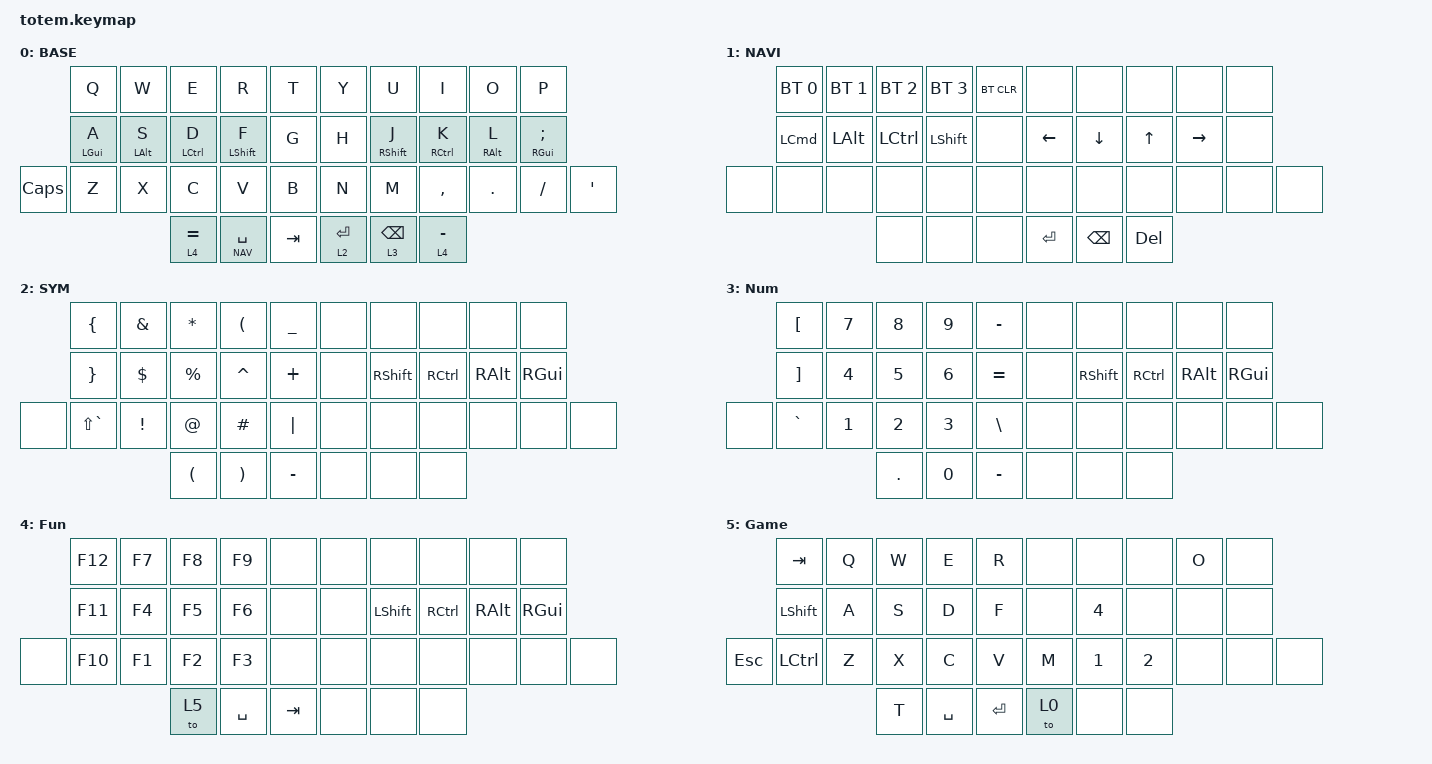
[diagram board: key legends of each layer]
//
//                                                        ▀▀▀▀▀     ▀▀▀▀▀          ▀▀█▀▀
//                                                        ▄▀▀▀▄  ▄  ▄▀▀▀▄  ▄  ▄▀▀▀▄  █  ▄▀▀▀▄
//                                                        █   █  █  █   █  █  █   █  █  █   █
//                                                         ▀▀▀   █   ▀▀▀   █   ▀▀▀   ▀   ▀▀▀
//                                                               █      ▄▄▄█▄▄▄    █   █  
//                                                               ▀      █  █  █     █▄█
//                                                             ▀▀▀▀▀    █  █  █      ▀
//                                                                      ▀  ▀  ▀
//
// ▄▄▄▄▄▄▄▄▄▄▄▄▄▄▄▄▄▄▄▄▄▄▄▄▄▄▄▄▄▄▄▄▄▄▄▄▄▄▄▄▄▄▄▄▄▄▄▄▄▄▄▄▄▄▄▄▄▄▄▄▄▄▄▄▄▄▄▄▄▄▄▄▄▄▄▄▄▄▄▄▄▄▄▄▄▄▄▄▄▄▄▄▄▄▄▄▄▄▄▄▄▄▄▄▄▄▄▄▄▄▄▄▄▄▄▄▄▄▄▄▄▄▄▄▄▄▄▄▄▄▄▄▄▄▄▄▄▄▄▄▄▄▄▄▄▄▄▄▄

#include <behaviors.dtsi>
#include <dt-bindings/zmk/bt.h>
#include <dt-bindings/zmk/keys.h>

#define BASE 0
#define NAV  1
#define SYM  2
#define ADJ  3
#define TVP1 4
#define TVP2 5

&mt {
    quick-tap-ms = <100>;
    global-quick-tap;
    flavor = "tap-preferred";
    tapping-term-ms = <170>;
};

/ {
    combos {
        compatible = "zmk,combos";

        combo_esc {
            timeout-ms = <50>;
            key-positions = <0 1>;
            bindings = <&kp ESC>;
        };

        combo_tvp {
            timeout-ms = <100>;
            key-positions = <11 12 13>;
            bindings = <&tog TVP1>;
        };
    };

    macros {
        gif: gif {
            label = "giphy";
            compatible = "zmk,behavior-macro";
            #binding-cells = <0>;
            bindings =
                <&macro_press>,
                <&kp LSHFT>,
                <&macro_tap>,
                <&kp N2>,
                <&macro_release>,
                <&kp LSHFT>,
                <&macro_tap>,
                <&kp G &kp I &kp F>;
        };
    };

    keymap {
        compatible = "zmk,keymap";

        // ▄▄▄▄▄▄▄▄▄▄▄▄▄▄▄▄▄▄▄▄▄▄▄▄▄▄▄▄▄▄▄▄▄▄▄▄▄▄▄▄▄▄▄▄▄▄▄▄▄▄▄▄▄▄▄▄▄▄▄▄▄▄▄▄▄▄▄▄▄▄▄▄▄▄▄▄▄▄▄▄▄▄▄▄▄▄▄▄▄▄▄▄▄▄▄▄▄▄▄▄▄▄▄▄▄▄▄▄▄▄▄▄▄▄▄▄▄▄▄▄▄▄▄▄▄▄▄▄▄▄▄▄▄▄▄▄▄▄▄▄▄▄▄▄▄▄▄▄▄

        base_layer {
            // ┏━━━━━━━━━━━━━━━━━━━━━━━━━━━━━━━━━━━━━━━┓

            label = "BASE";

            // ┗━━━━━━━━━━━━━━━━━━━━━━━━━━━━━━━━━━━━━━━┛
            //             ┏━━━━━━━━━━━┳━━━━━━━━━━━┳━━━━━━━━━━━┳━━━━━━━━━━━┳━━━━━━━━━━━┓   ┏━━━━━━━━━━━┳━━━━━━━━━━━┳━━━━━━━━━━━┳━━━━━━━━━━━┳━━━━━━━━━━━┓
            //             ┃     Q     ┃     W     ┃     F     ┃     P     ┃     G     ┃   ┃     J     ┃     L     ┃     U     ┃     Y     ┃     ;     ┃
            //             ┣━━━━━━━━━━━╋━━━━━━━━━━━╋━━━━━━━━━━━╋━━━━━━━━━━━╋━━━━━━━━━━━┫   ┣━━━━━━━━━━━╋━━━━━━━━━━━╋━━━━━━━━━━━╋━━━━━━━━━━━╋━━━━━━━━━━━┫
            //             ┃     A     ┃     R     ┃     S     ┃     T     ┃     D     ┃   ┃     H     ┃     N     ┃     E     ┃     I     ┃     O     ┃
            // ┏━━━━━━━━━━━╋━━━━━━━━━━━╋━━━━━━━━━━━╋━━━━━━━━━━━╋━━━━━━━━━━━╋━━━━━━━━━━━┫   ┣━━━━━━━━━━━╋━━━━━━━━━━━╋━━━━━━━━━━━╋━━━━━━━━━━━╋━━━━━━━━━━━╋━━━━━━━━━━━┓
            // ┃     Q     ┃     Z     ┃     X     ┃     C     ┃     V     ┃     B     ┃   ┃     K     ┃     M     ┃     ,     ┃     .     ┃     /     ┃     \     ┃
            // ┗━━━━━━━━━━━┻━━━━━━━━━━━┻━━━━━━━━━━━╋━━━━━━━━━━━╋━━━━━━━━━━━╋━━━━━━━━━━━┫   ┣━━━━━━━━━━━╋━━━━━━━━━━━╋━━━━━━━━━━━╋━━━━━━━━━━━┻━━━━━━━━━━━┻━━━━━━━━━━━┛
            //                                     ┃    DEL    ┃    TAB    ┃    SPC    ┃   ┃   ENTER   ┃           ┃   BSPC    ┃
            //                                     ┗━━━━━━━━━━━┻━━━━━━━━━━━┻━━━━━━━━━━━┛   ┗━━━━━━━━━━━┻━━━━━━━━━━━┻━━━━━━━━━━━┛

            bindings = <
          &kp Q       &kp W       &kp E        &kp R          &kp T      &kp Y        &kp U            &kp I        &kp O       &kp P
          &mt LGUI A  &mt LALT S  &mt LCTRL D  &mt LSHFT F    &kp G      &kp H        &mt RSHFT J      &mt RCTRL K  &mt RALT L  &mt RGUI SEMICOLON
&kp CAPS  &kp Z       &kp X       &kp C        &kp V          &kp B      &kp N        &kp M            &kp COMMA    &kp DOT     &kp FSLH            &kp SQT
                                  &lt 4 EQUAL  &lt NAV SPACE  &kp TAB    &lt 2 ENTER  &lt 3 BACKSPACE  &lt 4 MINUS
            >;
        };

        // ▄▄▄▄▄▄▄▄▄▄▄▄▄▄▄▄▄▄▄▄▄▄▄▄▄▄▄▄▄▄▄▄▄▄▄▄▄▄▄▄▄▄▄▄▄▄▄▄▄▄▄▄▄▄▄▄▄▄▄▄▄▄▄▄▄▄▄▄▄▄▄▄▄▄▄▄▄▄▄▄▄▄▄▄▄▄▄▄▄▄▄▄▄▄▄▄▄▄▄▄▄▄▄▄▄▄▄▄▄▄▄▄▄▄▄▄▄▄▄▄▄▄▄▄▄▄▄▄▄▄▄▄▄▄▄▄▄▄▄▄▄▄▄▄▄▄▄▄▄

        nav_layer {
            // ┏━━━━━━━━━━━━━━━━━━━━━━━━━━━━━━━━━━━━━━━┓

            label = "NAVI";

            // ┗━━━━━━━━━━━━━━━━━━━━━━━━━━━━━━━━━━━━━━━┛
            //             ┏━━━━━━━━━━━┳━━━━━━━━━━━┳━━━━━━━━━━━┳━━━━━━━━━━━┳━━━━━━━━━━━┓   ┏━━━━━━━━━━━┳━━━━━━━━━━━┳━━━━━━━━━━━┳━━━━━━━━━━━┳━━━━━━━━━━━┓
            //             ┃           ┃           ┃     UP    ┃           ┃     {     ┃   ┃     }     ┃     7     ┃     8     ┃     9     ┃     +     ┃
            //             ┣━━━━━━━━━━━╋━━━━━━━━━━━╋━━━━━━━━━━━╋━━━━━━━━━━━╋━━━━━━━━━━━┫   ┣━━━━━━━━━━━╋━━━━━━━━━━━╋━━━━━━━━━━━╋━━━━━━━━━━━╋━━━━━━━━━━━┫
            //             ┃   SHIFT   ┃   LEFT    ┃    DOWN   ┃   RIGHT   ┃     [     ┃   ┃     ]     ┃     4     ┃     5     ┃     6     ┃     -     ┃
            // ┏━━━━━━━━━━━╋━━━━━━━━━━━╋━━━━━━━━━━━╋━━━━━━━━━━━╋━━━━━━━━━━━╋━━━━━━━━━━━┫   ┣━━━━━━━━━━━╋━━━━━━━━━━━╋━━━━━━━━━━━╋━━━━━━━━━━━╋━━━━━━━━━━━╋━━━━━━━━━━━┓
            // ┃           ┃           ┃   P UP    ┃  C LOCK   ┃  P DOWN   ┃     (     ┃   ┃     )     ┃     1     ┃     2     ┃     3     ┃     *     ┃           ┃
            // ┗━━━━━━━━━━━┻━━━━━━━━━━━┻━━━━━━━━━━━╋━━━━━━━━━━━╋━━━━━━━━━━━╋━━━━━━━━━━━┫   ┣━━━━━━━━━━━╋━━━━━━━━━━━╋━━━━━━━━━━━╋━━━━━━━━━━━┻━━━━━━━━━━━┻━━━━━━━━━━━┛
            //                                     ┃           ┃    TAB    ┃    SPC    ┃   ┃    DEL    ┃     0     ┃           ┃
            //                                     ┗━━━━━━━━━━━┻━━━━━━━━━━━┻━━━━━━━━━━━┛   ┗━━━━━━━━━━━┻━━━━━━━━━━━┻━━━━━━━━━━━┛

            bindings = <
       &bt BT_SEL 0      &bt BT_SEL 1  &bt BT_SEL 2  &bt BT_SEL 3    &bt BT_CLR    &none           &none          &none         &none      &none
       &kp LEFT_COMMAND  &kp LEFT_ALT  &kp LCTRL     &kp LEFT_SHIFT  &none         &kp LEFT_ARROW  &kp DOWN       &kp UP_ARROW  &kp RIGHT  &none
&none  &none             &none         &none         &none           &none         &none           &none          &none         &none      &none  &none
                                       &none         &none           &none         &kp ENTER       &kp BACKSPACE  &kp DELETE
            >;
        };

        // ▄▄▄▄▄▄▄▄▄▄▄▄▄▄▄▄▄▄▄▄▄▄▄▄▄▄▄▄▄▄▄▄▄▄▄▄▄▄▄▄▄▄▄▄▄▄▄▄▄▄▄▄▄▄▄▄▄▄▄▄▄▄▄▄▄▄▄▄▄▄▄▄▄▄▄▄▄▄▄▄▄▄▄▄▄▄▄▄▄▄▄▄▄▄▄▄▄▄▄▄▄▄▄▄▄▄▄▄▄▄▄▄▄▄▄▄▄▄▄▄▄▄▄▄▄▄▄▄▄▄▄▄▄▄▄▄▄▄▄▄▄▄▄▄▄▄▄▄▄

        sim_layer {
            // ┏━━━━━━━━━━━━━━━━━━━━━━━━━━━━━━━━━━━━━━━┓

            label = "SYM";

            // ┗━━━━━━━━━━━━━━━━━━━━━━━━━━━━━━━━━━━━━━━┛
            //             ┏━━━━━━━━━━━┳━━━━━━━━━━━┳━━━━━━━━━━━┳━━━━━━━━━━━┳━━━━━━━━━━━┓   ┏━━━━━━━━━━━┳━━━━━━━━━━━┳━━━━━━━━━━━┳━━━━━━━━━━━┳━━━━━━━━━━━┓
            //             ┃     !     ┃     @     ┃     #     ┃     $     ┃     %     ┃   ┃     ˆ     ┃     &     ┃     Ü     ┃     '     ┃     "     ┃
            //             ┣━━━━━━━━━━━╋━━━━━━━━━━━╋━━━━━━━━━━━╋━━━━━━━━━━━╋━━━━━━━━━━━┫   ┣━━━━━━━━━━━╋━━━━━━━━━━━╋━━━━━━━━━━━╋━━━━━━━━━━━╋━━━━━━━━━━━┫
            //             ┃     Ä     ┃           ┃    SZ     ┃           ┃           ┃   ┃   MUTE    ┃   YEN     ┃   EURO    ┃  POUND    ┃     Ö     ┃
            // ┏━━━━━━━━━━━╋━━━━━━━━━━━╋━━━━━━━━━━━╋━━━━━━━━━━━╋━━━━━━━━━━━╋━━━━━━━━━━━┫   ┣━━━━━━━━━━━╋━━━━━━━━━━━╋━━━━━━━━━━━╋━━━━━━━━━━━╋━━━━━━━━━━━╋━━━━━━━━━━━┓
            // ┃           ┃  EMAIL1   ┃  EMAIL2   ┃           ┃           ┃           ┃   ┃   VOL-    ┃   VOL+    ┃   LAST    ┃   NEXT    ┃     \     ┃           ┃
            // ┗━━━━━━━━━━━┻━━━━━━━━━━━┻━━━━━━━━━━━╋━━━━━━━━━━━╋━━━━━━━━━━━╋━━━━━━━━━━━┫   ┣━━━━━━━━━━━╋━━━━━━━━━━━╋━━━━━━━━━━━╋━━━━━━━━━━━┻━━━━━━━━━━━┻━━━━━━━━━━━┛
            //                                     ┃           ┃    GIF    ┃    ADJ    ┃   ┃           ┃           ┃           ┃
            //                                     ┗━━━━━━━━━━━┻━━━━━━━━━━━┻━━━━━━━━━━━┛   ┗━━━━━━━━━━━┻━━━━━━━━━━━┻━━━━━━━━━━━┛

            bindings = <
       &kp LEFT_BRACE   &kp AMPERSAND    &kp ASTERISK          &kp LEFT_PARENTHESIS   &kp UNDERSCORE    &none  &none      &none      &none     &none
       &kp RIGHT_BRACE  &kp DOLLAR       &kp PERCENT           &kp CARET              &kp PLUS          &none  &kp RSHFT  &kp RCTRL  &kp RALT  &kp RGUI
&none  &kp LS(GRAVE)    &kp EXCLAMATION  &kp AT_SIGN           &kp HASH               &kp PIPE          &none  &none      &none      &none     &none     &none
                                         &kp LEFT_PARENTHESIS  &kp RIGHT_PARENTHESIS  &kp MINUS         &none  &none      &none
            >;
        };

        // ▄▄▄▄▄▄▄▄▄▄▄▄▄▄▄▄▄▄▄▄▄▄▄▄▄▄▄▄▄▄▄▄▄▄▄▄▄▄▄▄▄▄▄▄▄▄▄▄▄▄▄▄▄▄▄▄▄▄▄▄▄▄▄▄▄▄▄▄▄▄▄▄▄▄▄▄▄▄▄▄▄▄▄▄▄▄▄▄▄▄▄▄▄▄▄▄▄▄▄▄▄▄▄▄▄▄▄▄▄▄▄▄▄▄▄▄▄▄▄▄▄▄▄▄▄▄▄▄▄▄▄▄▄▄▄▄▄▄▄▄▄▄▄▄▄▄▄▄▄

        Num {
            // ┏━━━━━━━━━━━━━━━━━━━━━━━━━━━━━━━━━━━━━━━┓

            label = "Num";

            // ┗━━━━━━━━━━━━━━━━━━━━━━━━━━━━━━━━━━━━━━━┛
            //             ┏━━━━━━━━━━━┳━━━━━━━━━━━┳━━━━━━━━━━━┳━━━━━━━━━━━┳━━━━━━━━━━━┓   ┏━━━━━━━━━━━┳━━━━━━━━━━━┳━━━━━━━━━━━┳━━━━━━━━━━━┳━━━━━━━━━━━┓
            //             ┃   RESET   ┃ BT CLEAR  ┃  OUT TOG  ┃           ┃           ┃   ┃           ┃    F7     ┃    F8     ┃    F9     ┃    F12    ┃
            //             ┣━━━━━━━━━━━╋━━━━━━━━━━━╋━━━━━━━━━━━╋━━━━━━━━━━━╋━━━━━━━━━━━┫   ┣━━━━━━━━━━━╋━━━━━━━━━━━╋━━━━━━━━━━━╋━━━━━━━━━━━╋━━━━━━━━━━━┫
            //             ┃ BOOTLOAD  ┃ BT NEXT   ┃           ┃           ┃           ┃   ┃           ┃    F4     ┃    F5     ┃    F6     ┃    F11    ┃
            // ┏━━━━━━━━━━━╋━━━━━━━━━━━╋━━━━━━━━━━━╋━━━━━━━━━━━╋━━━━━━━━━━━╋━━━━━━━━━━━┫   ┣━━━━━━━━━━━╋━━━━━━━━━━━╋━━━━━━━━━━━╋━━━━━━━━━━━╋━━━━━━━━━━━╋━━━━━━━━━━━┓
            // ┃           ┃           ┃ BT PREV   ┃           ┃           ┃           ┃   ┃           ┃    F1     ┃    F2     ┃    F3     ┃    F10    ┃           ┃
            // ┗━━━━━━━━━━━┻━━━━━━━━━━━┻━━━━━━━━━━━╋━━━━━━━━━━━╋━━━━━━━━━━━╋━━━━━━━━━━━┫   ┣━━━━━━━━━━━╋━━━━━━━━━━━╋━━━━━━━━━━━╋━━━━━━━━━━━┻━━━━━━━━━━━┻━━━━━━━━━━━┛
            //                                     ┃           ┃           ┃           ┃   ┃           ┃           ┃           ┃
            //                                     ┗━━━━━━━━━━━┻━━━━━━━━━━━┻━━━━━━━━━━━┛   ┗━━━━━━━━━━━┻━━━━━━━━━━━┻━━━━━━━━━━━┛

            bindings = <
       &kp LEFT_BRACKET   &kp N7        &kp N8        &kp N9        &kp MINUS        &none  &none      &none      &none     &none
       &kp RIGHT_BRACKET  &kp NUMBER_4  &kp N5        &kp NUMBER_6  &kp EQUAL        &none  &kp RSHFT  &kp RCTRL  &kp RALT  &kp RGUI
&none  &kp GRAVE          &kp NUMBER_1  &kp NUMBER_2  &kp NUMBER_3  &kp BACKSLASH    &none  &none      &none      &none     &none     &none
                                        &kp PERIOD    &kp N0        &kp MINUS        &none  &none      &none
            >;
        };

        // ▄▄▄▄▄▄▄▄▄▄▄▄▄▄▄▄▄▄▄▄▄▄▄▄▄▄▄▄▄▄▄▄▄▄▄▄▄▄▄▄▄▄▄▄▄▄▄▄▄▄▄▄▄▄▄▄▄▄▄▄▄▄▄▄▄▄▄▄▄▄▄▄▄▄▄▄▄▄▄▄▄▄▄▄▄▄▄▄▄▄▄▄▄▄▄▄▄▄▄▄▄▄▄▄▄▄▄▄▄▄▄▄▄▄▄▄▄▄▄▄▄▄▄▄▄▄▄▄▄▄▄▄▄▄▄▄▄▄▄▄▄▄▄▄▄▄▄▄▄

        Function {
            // ┏━━━━━━━━━━━━━━━━━━━━━━━━━━━━━━━━━━━━━━━┓

            label = "Fun";

            // ┗━━━━━━━━━━━━━━━━━━━━━━━━━━━━━━━━━━━━━━━┛
            //             ┏━━━━━━━━━━━┳━━━━━━━━━━━┳━━━━━━━━━━━┳━━━━━━━━━━━┳━━━━━━━━━━━┓   ┏━━━━━━━━━━━┳━━━━━━━━━━━┳━━━━━━━━━━━┳━━━━━━━━━━━┳━━━━━━━━━━━┓
            //             ┃ NEXT FILE ┃ MARK IN   ┃ ROTATE    ┃ MARK OUT  ┃ SHOW SNAP ┃   ┃           ┃           ┃           ┃           ┃           ┃
            //             ┣━━━━━━━━━━━╋━━━━━━━━━━━╋━━━━━━━━━━━╋━━━━━━━━━━━╋━━━━━━━━━━━┫   ┣━━━━━━━━━━━╋━━━━━━━━━━━╋━━━━━━━━━━━╋━━━━━━━━━━━╋━━━━━━━━━━━┫
            //             ┃ TVP II    ┃ LEFT      ┃ PAN       ┃ RIGHT     ┃ PLAY/FLIP ┃   ┃           ┃           ┃           ┃           ┃           ┃
            // ┏━━━━━━━━━━━╋━━━━━━━━━━━╋━━━━━━━━━━━╋━━━━━━━━━━━╋━━━━━━━━━━━╋━━━━━━━━━━━┫   ┣━━━━━━━━━━━╋━━━━━━━━━━━╋━━━━━━━━━━━╋━━━━━━━━━━━╋━━━━━━━━━━━╋━━━━━━━━━━━┓
            // ┃ FULLSCR   ┃ SHIFT     ┃ COPY      ┃ DELETE    ┃ PASTE     ┃ IMG MARK  ┃   ┃           ┃           ┃           ┃           ┃           ┃           ┃
            // ┗━━━━━━━━━━━┻━━━━━━━━━━━┻━━━━━━━━━━━╋━━━━━━━━━━━╋━━━━━━━━━━━╋━━━━━━━━━━━┫   ┣━━━━━━━━━━━╋━━━━━━━━━━━╋━━━━━━━━━━━╋━━━━━━━━━━━┻━━━━━━━━━━━┻━━━━━━━━━━━┛
            //                                     ┃           ┃ UNDO/SAVE ┃  SEL/MOV  ┃   ┃           ┃           ┃           ┃
            //                                     ┗━━━━━━━━━━━┻━━━━━━━━━━━┻━━━━━━━━━━━┛   ┗━━━━━━━━━━━┻━━━━━━━━━━━┻━━━━━━━━━━━┛

            bindings = <
       &kp F12  &kp F7  &kp F8  &kp F9     &none      &none  &none       &none      &none     &none
       &kp F11  &kp F4  &kp F5  &kp F6     &none      &none  &kp LSHIFT  &kp RCTRL  &kp RALT  &kp RGUI
&none  &kp F10  &kp F1  &kp F2  &kp F3     &none      &none  &none       &none      &none     &none     &none
                        &to 5   &kp SPACE  &kp TAB    &none  &none       &none
            >;
        };

        // ▄▄▄▄▄▄▄▄▄▄▄▄▄▄▄▄▄▄▄▄▄▄▄▄▄▄▄▄▄▄▄▄▄▄▄▄▄▄▄▄▄▄▄▄▄▄▄▄▄▄▄▄▄▄▄▄▄▄▄▄▄▄▄▄▄▄▄▄▄▄▄▄▄▄▄▄▄▄▄▄▄▄▄▄▄▄▄▄▄▄▄▄▄▄▄▄▄▄▄▄▄▄▄▄▄▄▄▄▄▄▄▄▄▄▄▄▄▄▄▄▄▄▄▄▄▄▄▄▄▄▄▄▄▄▄▄▄▄▄▄▄▄▄▄▄▄▄▄▄

        Gaming {
            // ┏━━━━━━━━━━━━━━━━━━━━━━━━━━━━━━━━━━━━━━━┓

            label = "Game";

            // ┗━━━━━━━━━━━━━━━━━━━━━━━━━━━━━━━━━━━━━━━┛
            //             ┏━━━━━━━━━━━┳━━━━━━━━━━━┳━━━━━━━━━━━┳━━━━━━━━━━━┳━━━━━━━━━━━┓   ┏━━━━━━━━━━━┳━━━━━━━━━━━┳━━━━━━━━━━━┳━━━━━━━━━━━┳━━━━━━━━━━━┓
            //             ┃ SOLO      ┃ TOGGLE IN ┃ RESET ROT ┃ TOGGLE OUT┃ TAKE SNAP ┃   ┃           ┃           ┃           ┃           ┃           ┃
            //             ┣━━━━━━━━━━━╋━━━━━━━━━━━╋━━━━━━━━━━━╋━━━━━━━━━━━╋━━━━━━━━━━━┫   ┣━━━━━━━━━━━╋━━━━━━━━━━━╋━━━━━━━━━━━╋━━━━━━━━━━━╋━━━━━━━━━━━┫
            //             ┃ ---       ┃ LAST KEY  ┃ NEW KEY   ┃ NEXT KEY  ┃ ENTER     ┃   ┃           ┃           ┃           ┃           ┃           ┃
            // ┏━━━━━━━━━━━╋━━━━━━━━━━━╋━━━━━━━━━━━╋━━━━━━━━━━━╋━━━━━━━━━━━╋━━━━━━━━━━━┫   ┣━━━━━━━━━━━╋━━━━━━━━━━━╋━━━━━━━━━━━╋━━━━━━━━━━━╋━━━━━━━━━━━╋━━━━━━━━━━━┓
            // ┃           ┃ FULLSCR   ┃ CPY2BRUSH ┃ DEL HEAD  ┃ PSTinPLACE┃ BOOK MARK ┃   ┃           ┃           ┃           ┃           ┃           ┃           ┃
            // ┗━━━━━━━━━━━┻━━━━━━━━━━━┻━━━━━━━━━━━╋━━━━━━━━━━━╋━━━━━━━━━━━╋━━━━━━━━━━━┫   ┣━━━━━━━━━━━╋━━━━━━━━━━━╋━━━━━━━━━━━╋━━━━━━━━━━━┻━━━━━━━━━━━┻━━━━━━━━━━━┛
            //                                     ┃           ┃ REDO/SAV1 ┃TRANS/WARP ┃   ┃           ┃           ┃           ┃
            //                                     ┗━━━━━━━━━━━┻━━━━━━━━━━━┻━━━━━━━━━━━┛   ┗━━━━━━━━━━━┻━━━━━━━━━━━┻━━━━━━━━━━━┛

            bindings = <
            &kp TAB    &kp Q  &kp W  &kp E      &kp R        &none  &none         &none         &kp O  &none
            &kp LSHFT  &kp A  &kp S  &kp D      &kp F        &none  &kp NUMBER_4  &none         &none  &none
&kp ESCAPE  &kp LCTRL  &kp Z  &kp X  &kp C      &kp V        &kp M  &kp NUMBER_1  &kp NUMBER_2  &none  &none  &none
                              &kp T  &kp SPACE  &kp ENTER    &to 0  &none         &none
            >;
        };
    };
};
